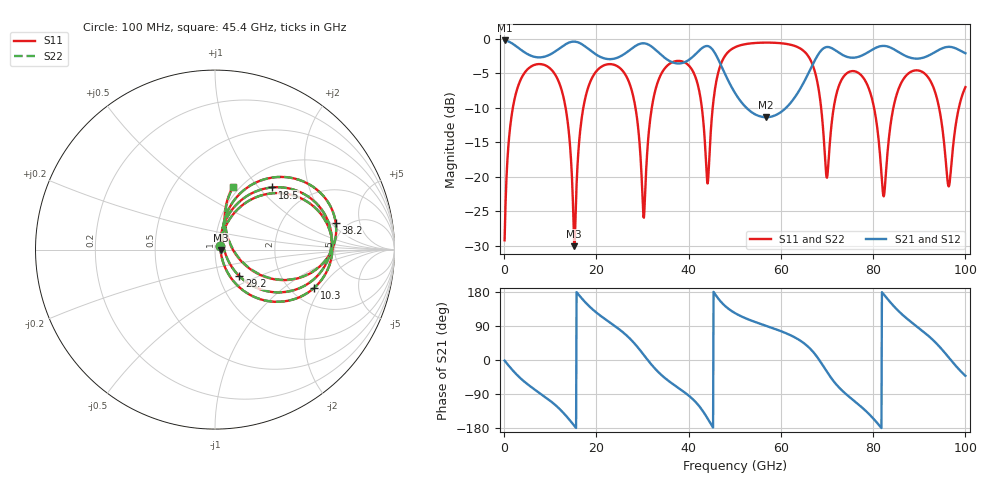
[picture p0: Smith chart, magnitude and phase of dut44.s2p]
! Touchstone file exported from HFSS 2026.1.0
!  File:  C:/ffzhzh/LocalFiles/Ansys_Project_Files/temp_train_TSV_RDL_44_1783619912_29156.aedt
!  Generated:  02:12:54 AM Jul 10, 2026
!  Design:  TSV_RDL
!  Project:  temp_train_TSV_RDL_44_1783619912_29156
! Variables:
!  h_bsmrdl = 3.05um
!  h_ox = 20um
!  h_rdl = 5um
!  h_sub = 89.23um
!  h_tmrdl = 2.69um
!  h_tsv = 89.23um
!  h_via = 3um
!  l_bsmrdl = 268.15um
!  l_sub = 3671.29um
!  l_tmrdl = 586.89um
!  m_sub = 200um
!  pitch = 57.98um
!  r_tsv = 5.24um
!  s_tmrdl = 10um
!  w_bsmrdl = 26.33um
!  w_sub = 500um
!  w_tmrdl = 13.43um
!  x_tsv_center1 = 593.605um
!  x_tsv_center2 = 888.085um
!  x_tsv_center3 = 1488.405um
!  x_tsv_center4 = 1782.885um
!  x_tsv_center5 = 2383.205um
!  x_tsv_center6 = 2677.685um
# GHz S MA R 50.000000
! Terminal data exported
! Port[1] = TM_RDL1_1_T1
! Port[2] = TM_RDL5_1_T1
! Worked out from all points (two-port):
!   1000 points, 100 MHz to 100 GHz, reference 50 ohm
!   highest |S21| = -0.26 dB at 100 MHz (marker M1); lowest = -11.4 dB at 56.8 GHz (marker M2)
!   |S21| within 3 dB of the highest: start of sweep to 35.92 GHz; 67.27 GHz to end of sweep (the widest 2 of 3)
!   lowest |S11| = -30.1 dB at 15.2 GHz (marker M3), VSWR 1.06, Z = 53.2 - j0.406 ohm
!   |S11| at or under -10 dB: 13.32 GHz to 17.17 GHz (3.85 GHz wide, 25.3 % of centre); 80.19 GHz to 84.39 GHz (4.2 GHz wide, 5.1 % of centre); 94.29 GHz to 98.59 GHz (4.299 GHz wide, 4.46 % of centre) (the widest 3 of 7)
!   |S22| runs from -30.0 to -0.6 dB; largest |S21 - S12| = 1.6e-11
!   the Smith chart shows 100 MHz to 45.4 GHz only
!   S11 on the Smith chart (normalised r, x): 100 MHz: 1.06, +0.04; 10.3 GHz: 2.66, -1.74; 18.5 GHz: 1.33, +1.19; 29.2 GHz: 1.25, -0.39; 38.2 GHz: 4.08, +2.30; 45.4 GHz: 0.93, +0.74
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0.1  0.03452 31.6  0.9709 -1.6  0.9709 -1.6  0.03452 31.6
! Gamma 0 0 0 0
! Port Impedance 50 0 50 0
2.9  0.4401 45.3  0.8672 -40.7  0.8672 -40.7  0.4401 45.3
10.3  0.5934 -20.9  0.7789 -110.7  0.7789 -110.7  0.5933 -20.9
15.2  0.03132 -7.0  0.9526 -173.4  0.9526 -173.4  0.03155 -6.9
16.8  0.2633 65.5  0.9138 163.0  0.9138 163.0  0.2633 65.5
18.5  0.4713 47.3  0.8313 141.2  0.8313 141.2  0.4713 47.3
23.9  0.646 0.3  0.7169 90.5  0.7169 90.5  0.646 0.3
29.2  0.2009 -47.5  0.912 30.1  0.912 30.1  0.2008 -47.5
30.3  0.05034 20.0  0.9262 13.0  0.9262 13.0  0.05008 20.0
33.4  0.4946 53.3  0.798 -31.5  0.798 -31.5  0.4946 53.4
38.2  0.6889 12.4  0.6624 -77.3  0.6624 -77.3  0.6889 12.5
44.1  0.08919 22.3  0.8846 -154.2  0.8846 -154.2  0.09122 22.4
45.4  0.3604 74.2  0.8149 179.9  0.8149 179.9  0.361 74.0
50.1  0.8686 29.7  0.4017 123.4  0.4017 123.4  0.8687 29.7
56.8  0.9368 -0.4  0.2695 90.2  0.2695 90.2  0.9369 -0.4
66.7  0.6688 -57.4  0.6297 25.3  0.6297 25.3  0.6691 -57.2
70  0.09814 -23.9  0.8707 -31.4  0.8707 -31.4  0.1015 -24.1
73.2  0.5065 5.4  0.7682 -79.7  0.7682 -79.7  0.5068 5.2
83.4  0.188 45.2  0.8721 156.9  0.8721 156.9  0.1883 45.0
92.5  0.4884 -28.8  0.7685 58.1  0.7685 58.1  0.4884 -28.9
96.4  0.08487 4.5  0.8729 6.6  0.8729 6.6  0.08529 4.5
100  0.4457 40.6  0.7841 -41.7  0.7841 -41.7  0.4459 40.5
